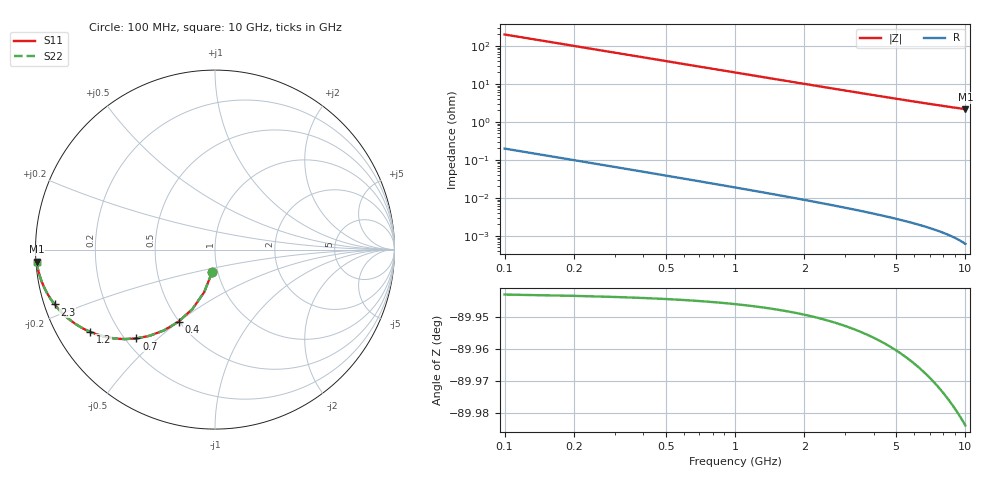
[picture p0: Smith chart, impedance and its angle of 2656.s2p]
# Hz S RI R 50.00
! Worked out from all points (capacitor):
!   100 points, 100 MHz to 10 GHz, reference 50 ohm
!   read as one part in shunt: C = 8.03 pF near 100 MHz
!   lowest |Z| = 2.15 ohm at 10 GHz (marker M1)
!   S11 on the Smith chart (normalised r, x): 100 MHz: 0.94, -0.24; 400 MHz: 0.50, -0.50; 700 MHz: 0.24, -0.43; 1.2 GHz: 0.10, -0.30; 2.3 GHz: 0.03, -0.17; 10 GHz: 0.00, -0.03
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1e8  -0.0157 -0.1241  0.9842 -0.1242  0.9842 -0.1242  -0.0157 -0.1241
2e8  -0.06 -0.2369  0.9399 -0.2373  0.9399 -0.2373  -0.06 -0.2369
3e8  -0.1255 -0.3305  0.8744 -0.3311  0.8744 -0.3311  -0.1255 -0.3305
4e8  -0.2031 -0.4015  0.7968 -0.4022  0.7968 -0.4022  -0.2031 -0.4015
5e8  -0.2847 -0.4504  0.7151 -0.4513  0.7151 -0.4513  -0.2847 -0.4504
6e8  -0.3643 -0.4802  0.6356 -0.4813  0.6356 -0.4813  -0.3643 -0.4802
7e8  -0.4381 -0.495  0.5617 -0.4963  0.5617 -0.4963  -0.4381 -0.495
9e8  -0.563 -0.4947  0.4368 -0.4963  0.4368 -0.4963  -0.563 -0.4947
1e9  -0.614 -0.4854  0.3859 -0.4872  0.3859 -0.4872  -0.614 -0.4854
1.2e9  -0.696 -0.4584  0.3038 -0.4605  0.3038 -0.4605  -0.696 -0.4584
1.3e9  -0.7288 -0.4429  0.2711 -0.4452  0.2711 -0.4452  -0.7288 -0.4429
1.5e9  -0.7815 -0.4113  0.2184 -0.414  0.2184 -0.414  -0.7815 -0.4113
1.8e9  -0.8374 -0.3668  0.1625 -0.37  0.1625 -0.37  -0.8374 -0.3668
2e9  -0.8641 -0.3403  0.1358 -0.3439  0.1358 -0.3439  -0.8641 -0.3403
2.3e9  -0.8937 -0.3055  0.1062 -0.3096  0.1062 -0.3096  -0.8937 -0.3055
2.8e9  -0.9257 -0.2591  0.0741 -0.2641  0.0741 -0.2641  -0.9257 -0.2591
3.4e9  -0.9484 -0.2174  0.0514 -0.2235  0.0514 -0.2235  -0.9484 -0.2174
4.2e9  -0.9656 -0.1776  0.0342 -0.1852  0.0342 -0.1852  -0.9656 -0.1776
5.1e9  -0.9765 -0.1461  0.0233 -0.1553  0.0233 -0.1553  -0.9765 -0.1461
6.7e9  -0.9863 -0.1091  0.0135 -0.1213  0.0135 -0.1213  -0.9863 -0.1091
8.4e9  -0.9913 -0.0838  0.00843 -0.0993  0.00843 -0.0993  -0.9913 -0.0838
1e10  -0.9939 -0.0669  0.00579 -0.0856  0.00579 -0.0856  -0.9939 -0.0669
